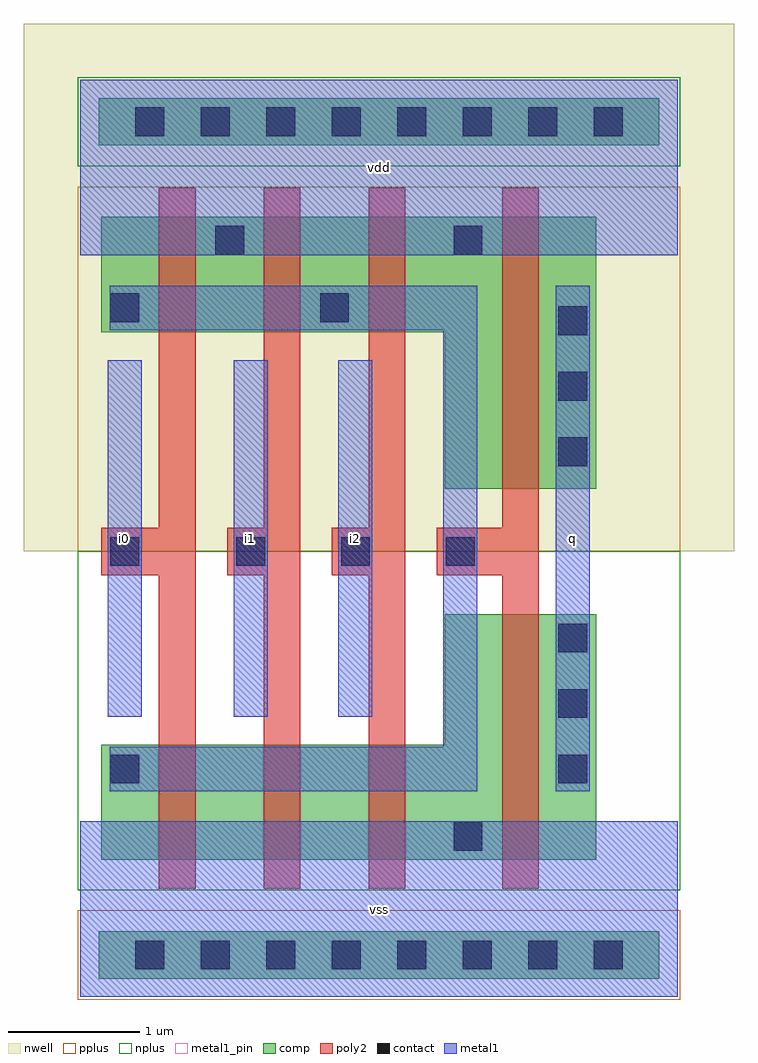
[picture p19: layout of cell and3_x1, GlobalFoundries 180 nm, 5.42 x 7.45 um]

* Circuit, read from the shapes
.subckt and3_x1 i0 i1 i2 q vdd vss
XM1 n1 i0 n2 vss nfet_03v3 w=0.88u l=0.28u
XM2 n3 i1 n1 vss nfet_03v3 w=0.88u l=0.28u
XM3 vss i2 n3 vss nfet_03v3 w=0.88u l=0.28u
XM4 q n2 vss vss nfet_03v3 w=1.875u l=0.28u
XM5 vdd i0 n2 vdd pfet_03v3 w=0.88u l=0.28u
XM6 n2 i1 vdd vdd pfet_03v3 w=0.88u l=0.28u
XM7 vdd i2 n2 vdd pfet_03v3 w=0.88u l=0.28u
XM8 q n2 vdd vdd pfet_03v3 w=2.075u l=0.28u
.ends

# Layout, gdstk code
import gdstk
lib = gdstk.Library(unit=1e-6, precision=1e-09)
def R(c, l, rs):  # rectangles x0, y0, x1, y1
    for r in rs: c.add(gdstk.rectangle(r[:2], r[2:], *l))
def A(c, l, x, y, w, h, nx, ny, dx, dy):  # array of equal rectangles
    R(c, l, [(x+i*dx, y+j*dy, x+i*dx+w, y+j*dy+h) for i in range(nx) for j in range(ny)])
def P(c, l, *ps):  # polygons
    for p in ps: c.add(gdstk.Polygon(p, *l))
nwell = (21, 0)
comp = (22, 0)
poly2 = (30, 0)
pplus = (31, 0)
nplus = (32, 0)
contact = (33, 0)
metal1 = (34, 0)
metal1_pin = (34, 10)

and3_x1 = lib.new_cell('and3_x1')
R(and3_x1, nwell, [(-0.43,3.4,4.99,7.43)])
R(and3_x1, comp, [(0.14,0.14,4.42,0.5), (0.14,6.5,4.42,6.86)])
P(and3_x1, comp, [(0.16,1.045),(0.16,1.925),(2.78,1.925),(2.78,2.92),(3.94,2.92),(3.94,1.045)],
  [(2.78,3.88),(2.78,5.075),(0.16,5.075),(0.16,5.955),(3.94,5.955),(3.94,3.88)])
P(and3_x1, poly2, [(3.22,0.825),(3.22,3.22),(2.72,3.22),(2.72,3.58),(3.22,3.58),(3.22,6.175),(3.5,6.175),(3.5,0.825)],
  [(0.6,0.825),(0.6,3.22),(0.16,3.22),(0.16,3.58),(0.6,3.58),(0.6,6.175),(0.88,6.175),(0.88,0.825)],
  [(1.4,0.825),(1.4,3.22),(1.12,3.22),(1.12,3.58),(1.4,3.58),(1.4,6.175),(1.68,6.175),(1.68,0.825)],
  [(2.2,0.825),(2.2,3.22),(1.92,3.22),(1.92,3.58),(2.2,3.58),(2.2,6.175),(2.48,6.175),(2.48,0.825)])
R(and3_x1, pplus, [(-0.02,-0.02,4.58,0.66), (-0.02,3.4,4.58,6.185)])
R(and3_x1, nplus, [(-0.02,0.815,4.58,3.4), (-0.02,6.34,4.58,7.02)])
A(and3_x1, contact, 0.42, 0.21, 0.22, 0.22, 8, 2, 0.5, 6.36)
A(and3_x1, contact, 3.65, 1.63, 0.22, 0.22, 1, 3, 0, 0.5)
A(and3_x1, contact, 1.19, 3.29, 0.22, 0.22, 3, 1, 0.8, 0)
A(and3_x1, contact, 3.65, 4.05, 0.22, 0.22, 1, 3, 0, 0.5)
R(and3_x1, contact, [(2.85,1.115,3.07,1.335), (0.23,1.63,0.45,1.85), (0.23,3.29,0.45,3.51), (0.23,5.15,0.45,5.37), (1.83,5.15,2.05,5.37), (1.03,5.665,1.25,5.885), (2.85,5.665,3.07,5.885)])
R(and3_x1, metal1, [(0,0,4.56,1.34), (3.63,1.57,3.89,5.43), (0.21,2.14,0.47,4.86), (1.17,2.14,1.43,4.86), (1.97,2.14,2.23,4.86), (0,5.66,4.56,7)])
P(and3_x1, metal1, [(0.225,1.57),(0.225,1.91),(2.77,1.91),(2.77,5.09),(0.225,5.09),(0.225,5.43),(3.03,5.43),(3.03,1.57)])
R(and3_x1, metal1_pin, [(0,0,4.56,1.34), (3.63,1.57,3.89,5.43), (0.21,2.14,0.47,4.86), (1.17,2.14,1.43,4.86), (1.97,2.14,2.23,4.86), (0,5.66,4.56,7)])
and3_x1.add(gdstk.Label('vdd', (2.28,6.33), layer=34, texttype=10))
and3_x1.add(gdstk.Label('vss', (2.28,0.67), layer=34, texttype=10))
and3_x1.add(gdstk.Label('i0', (0.34,3.5), layer=34, texttype=10))
and3_x1.add(gdstk.Label('i1', (1.3,3.5), layer=34, texttype=10))
and3_x1.add(gdstk.Label('i2', (2.1,3.5), layer=34, texttype=10))
and3_x1.add(gdstk.Label('q', (3.76,3.5), layer=34, texttype=10))

lib.write_gds('and3_x1.gds')
